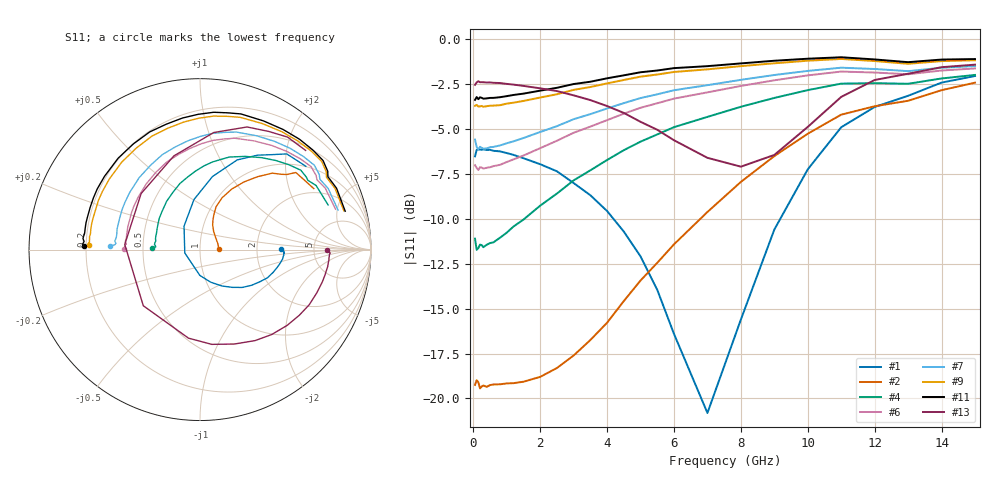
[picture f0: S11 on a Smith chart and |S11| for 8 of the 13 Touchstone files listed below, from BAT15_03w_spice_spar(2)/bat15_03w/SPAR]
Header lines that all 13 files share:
! SIEMENS Small Signal Semiconductors
! BAT15-03W
! Si Schottky Diode in SOD323
! S-Parameters:  May  1996
# GHz  S  MA  R  50
!  f  S11
! GHz  MAG  ANG
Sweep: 50 MHz to 15 GHz
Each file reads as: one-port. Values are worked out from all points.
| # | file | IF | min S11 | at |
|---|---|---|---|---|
| 1 | TOV00M20.S1P | 0.2 mA | -20.8 dB | 7 GHz |
| 2 | TOV00M50.S1P | 0.5 mA | -19.4 dB | 200 MHz |
| 3 | TOV001M0.S1P | 1 mA | -14.4 dB | 150 MHz |
| 4 | TOV001M2.S1P | 1.2 mA | -11.7 dB | 100 MHz |
| 5 | TOV001M5.S1P | 1.5 mA | -9.3 dB | 150 MHz |
| 6 | TOV002M0.S1P | 2 mA | -7.3 dB | 150 MHz |
| 7 | TOV002M5.S1P | 2.5 mA | -6.1 dB | 150 MHz |
| 8 | TOV005M0.S1P | 5 mA | -4.1 dB | 150 MHz |
| 9 | TOV006M0.S1P | 6 mA | -3.8 dB | 300 MHz |
| 10 | TOV008M0.S1P | 8 mA | -3.4 dB | 400 MHz |
| 11 | TOV0025M.S1P | 25 mA | -3.4 dB | 50 MHz |
| 12 | TOV0030M.S1P | 30 mA | -3.5 dB | 150 MHz |
| 13 | TOV0080U.S1P | 0.08 mA | -7.1 dB | 8 GHz |
